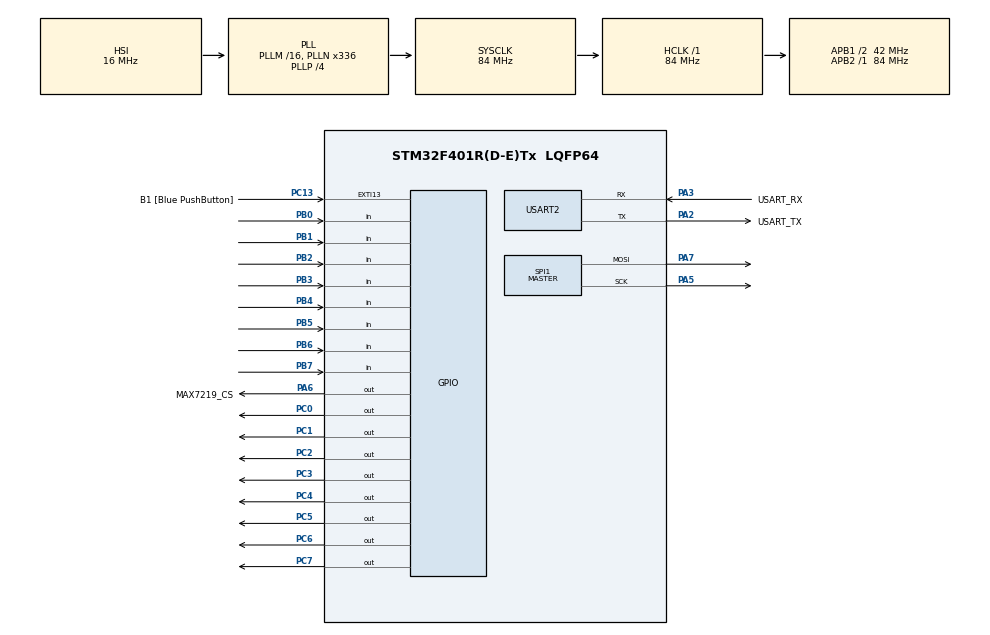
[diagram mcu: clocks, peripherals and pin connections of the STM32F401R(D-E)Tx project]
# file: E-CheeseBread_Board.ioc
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Mcu.Family=STM32F4
Mcu.Name=STM32F401R(D-E)Tx
Mcu.Package=LQFP64
NVIC.PriorityGroup=NVIC_PRIORITYGROUP_4
NVIC.USART2_IRQn=true\:0\:0\:false\:false\:true\:true\:true\:true
PA13.GPIO_Label=TMS
PA13.Signal=SYS_JTMS-SWDIO
PA14.GPIO_Label=TCK
PA14.Signal=SYS_JTCK-SWCLK
PA2.GPIO_Label=USART_TX
PA2.GPIO_Mode=GPIO_MODE_AF_PP
PA2.GPIO_PuPd=GPIO_NOPULL
PA2.GPIO_Speed=GPIO_SPEED_FREQ_LOW
PA2.Mode=Asynchronous
PA2.Signal=USART2_TX
PA3.GPIO_Label=USART_RX
PA3.GPIO_Mode=GPIO_MODE_AF_PP
PA3.GPIO_PuPd=GPIO_NOPULL
PA3.GPIO_Speed=GPIO_SPEED_FREQ_LOW
PA3.Mode=Asynchronous
PA3.Signal=USART2_RX
PA5.Mode=TX_Only_Simplex_Unidirect_Master
PA5.Signal=SPI1_SCK
PA6.GPIO_Label=MAX7219_CS
PA6.GPIO_Speed=GPIO_SPEED_FREQ_LOW
PA6.PinState=GPIO_PIN_SET
PA6.Signal=GPIO_Output
PA7.Mode=TX_Only_Simplex_Unidirect_Master
PA7.Signal=SPI1_MOSI
PB0.GPIO_PuPd=GPIO_PULLUP
PB0.Signal=GPIO_Input
PB1.GPIO_PuPd=GPIO_PULLUP
PB1.Signal=GPIO_Input
PB2.GPIO_PuPd=GPIO_PULLUP
PB2.Signal=GPIO_Input
PB3.GPIO_PuPd=GPIO_PULLUP
PB3.Signal=GPIO_Input
PB4.GPIO_PuPd=GPIO_PULLUP
PB4.Signal=GPIO_Input
PB5.GPIO_PuPd=GPIO_PULLUP
PB5.Signal=GPIO_Input
PB6.GPIO_PuPd=GPIO_PULLUP
PB6.Signal=GPIO_Input
PB7.GPIO_PuPd=GPIO_PULLUP
PB7.Signal=GPIO_Input
PC0.PinState=GPIO_PIN_SET
PC0.Signal=GPIO_Output
PC1.PinState=GPIO_PIN_SET
PC1.Signal=GPIO_Output
PC13-ANTI_TAMP.GPIO_Label=B1 [Blue PushButton]
PC13-ANTI_TAMP.GPIO_ModeDefaultEXTI=GPIO_MODE_IT_FALLING
PC13-ANTI_TAMP.GPIO_PuPd=GPIO_NOPULL
PC13-ANTI_TAMP.Signal=GPXTI13
PC14-OSC32_IN.Mode=LSE-External-Oscillator
PC14-OSC32_IN.Signal=RCC_OSC32_IN
PC15-OSC32_OUT.Mode=LSE-External-Oscillator
PC15-OSC32_OUT.Signal=RCC_OSC32_OUT
PC2.PinState=GPIO_PIN_SET
PC2.Signal=GPIO_Output
PC3.PinState=GPIO_PIN_SET
PC3.Signal=GPIO_Output
PC4.PinState=GPIO_PIN_SET
PC4.Signal=GPIO_Output
PC5.PinState=GPIO_PIN_SET
PC5.Signal=GPIO_Output
PC6.PinState=GPIO_PIN_SET
PC6.Signal=GPIO_Output
PC7.PinState=GPIO_PIN_SET
PC7.Signal=GPIO_Output
PH0\ -\ OSC_IN.Mode=HSE-External-Clock-Source
PH0\ -\ OSC_IN.Signal=RCC_OSC_IN
PH1\ -\ OSC_OUT.Mode=HSE-External-Clock-Source
PH1\ -\ OSC_OUT.Signal=RCC_OSC_OUT
ProjectManager.HeapSize=0x200
ProjectManager.StackSize=0x400
ProjectManager.TargetToolchain=CMake
RCC.48MHZClocksFreq_Value=48000000
RCC.AHBFreq_Value=84000000
RCC.APB1CLKDivider=RCC_HCLK_DIV2
RCC.APB1Freq_Value=42000000
RCC.APB1TimFreq_Value=84000000
RCC.APB2Freq_Value=84000000
RCC.APB2TimFreq_Value=84000000
RCC.CortexFreq_Value=84000000
RCC.HCLKFreq_Value=84000000
RCC.HSE_VALUE=8000000
RCC.HSI_VALUE=16000000
RCC.PLLN=336
RCC.PLLP=RCC_PLLP_DIV4
RCC.PLLQ=7
RCC.SYSCLKFreq_VALUE=84000000
RCC.SYSCLKSource=RCC_SYSCLKSOURCE_PLLCLK
RCC.VCOOutputFreq_Value=336000000
SPI1.BaudRatePrescaler=SPI_BAUDRATEPRESCALER_16
SPI1.Direction=SPI_DIRECTION_2LINES
SPI1.Mode=SPI_MODE_MASTER
SPI1.VirtualType=VM_MASTER
USART2.VirtualMode=VM_ASYNC
board=NUCLEO-F401RE

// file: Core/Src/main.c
/* USER CODE BEGIN Header */
/**
  ******************************************************************************
  * @file           : main.c
  * @brief          : Main program body
  ******************************************************************************
  * @attention
  *
  * Copyright (c) 2026 STMicroelectronics.
  * All rights reserved.
  *
  * This software is licensed under terms that can be found in the LICENSE file
  * in the root directory of this software component.
  * If no LICENSE file comes with this software, it is provided AS-IS.
  *
  ******************************************************************************
  */
/* USER CODE END Header */
#include "main.h"
#include "LedMatrix.h"
#include "UartComm.h"
#include "GameMode.h"

SPI_HandleTypeDef hspi1;

UART_HandleTypeDef huart2;

void SystemClock_Config(void);
static void MX_GPIO_Init(void);
static void MX_SPI1_Init(void);
static void MX_USART2_UART_Init(void);

/* USER CODE BEGIN 0 */

// Scansiona la matrice di pulsanti (PC0..PC7 = Righe, PB0..PB7 = Colonne)
uint8_t scan_chessboard(uint8_t boardState[8]) {
    uint8_t anyPressed = 0;

    // Imposta tutte le righe (PC0..PC7) ad HIGH
    GPIOC->ODR |= 0xFF;

    for (uint8_t r = 0; r < 8; r++) {
        // Abbassa a LOW (0V) soltanto la riga corrente
        GPIOC->ODR &= ~(1 << r);

        // Breve ritardo hardware per la stabilizzazione del segnale
        for (volatile int delay = 0; delay < 10; delay++);

        // Leggi gli 8 bit della Porta B (PB0..PB7)
        uint8_t raw_colData = ~(GPIOB->IDR & 0xFF);
        uint8_t colData = 0;

        // Inversione colonne in lettura (se attiva)
        if (INVERT_COLS) {
            for (uint8_t c = 0; c < 8; c++) {
                if (raw_colData & (1 << c)) {
                    colData |= (1 << (7 - c));
                }
            }
        } else {
            colData = raw_colData;
        }

        // Inversione righe in salvataggio (se attiva)
        uint8_t target_row = INVERT_ROWS ? (7 - r) : r;
        boardState[target_row] = colData;

        if (colData != 0) {
            anyPressed = 1;
        }

        // Riporta SEMPRE la riga corrente ad HIGH prima di passare alla successiva
        GPIOC->ODR |= (1 << r);
    }

    return anyPressed;
}

/* USER CODE END 0 */

int main(void)
{

  /* MCU Configuration--------------------------------------------------------*/

  /* Reset of all peripherals, Initializes the Flash interface and the Systick. */
  HAL_Init();

  /* Configure the system clock */
  SystemClock_Config();

  /* Initialize all configured peripherals */
  MX_GPIO_Init();
  MX_SPI1_Init();
  MX_USART2_UART_Init();
  /* USER CODE BEGIN 2 */

  MAX7219_init();

  // Test iniziale dei LED
  MAX7219_setall(1);
  HAL_Delay(1000);
  MAX7219_setall(0);
  HAL_Delay(200);

  UART_Init(&huart2);

  // Avvia il Controller in modalità Umano vs Umano (o MODE_STUDY_PGN / MODE_VS_PC)
  GameController_Init(MODE_HUMAN_VS_HUMAN);

  uint8_t prev_phys_board[8] = {0};
  uint8_t curr_phys_board[8] = {0};

  /* USER CODE END 2 */

  /* Infinite loop */
  /* USER CODE BEGIN WHILE */
  while (1)
  {
  scan_chessboard(curr_phys_board);

      // Gestione di tutta la logica di gioco e comunicazione
      GameController_Process(curr_phys_board, prev_phys_board);

      for (uint8_t r = 0; r < 8; r++) {
          prev_phys_board[r] = curr_phys_board[r];
      }

      HAL_Delay(30);
    /* USER CODE END WHILE */

  }
}

void SystemClock_Config(void)
{
  RCC_OscInitTypeDef RCC_OscInitStruct = {0};
  RCC_ClkInitTypeDef RCC_ClkInitStruct = {0};

  /** Configure the main internal regulator output voltage
  */
  __HAL_RCC_PWR_CLK_ENABLE();
  __HAL_PWR_VOLTAGESCALING_CONFIG(PWR_REGULATOR_VOLTAGE_SCALE2);

  /** Initializes the RCC Oscillators according to the specified parameters
  * in the RCC_OscInitTypeDef structure.
  */
  RCC_OscInitStruct.OscillatorType = RCC_OSCILLATORTYPE_HSI;
  RCC_OscInitStruct.HSIState = RCC_HSI_ON;
  RCC_OscInitStruct.HSICalibrationValue = RCC_HSICALIBRATION_DEFAULT;
  RCC_OscInitStruct.PLL.PLLState = RCC_PLL_ON;
  RCC_OscInitStruct.PLL.PLLSource = RCC_PLLSOURCE_HSI;
  RCC_OscInitStruct.PLL.PLLM = 16;
  RCC_OscInitStruct.PLL.PLLN = 336;
  RCC_OscInitStruct.PLL.PLLP = RCC_PLLP_DIV4;
  RCC_OscInitStruct.PLL.PLLQ = 7;
  if (HAL_RCC_OscConfig(&RCC_OscInitStruct) != HAL_OK)
  {
    Error_Handler();
  }

  /** Initializes the CPU, AHB and APB buses clocks
  */
  RCC_ClkInitStruct.ClockType = RCC_CLOCKTYPE_HCLK|RCC_CLOCKTYPE_SYSCLK
                              |RCC_CLOCKTYPE_PCLK1|RCC_CLOCKTYPE_PCLK2;
  RCC_ClkInitStruct.SYSCLKSource = RCC_SYSCLKSOURCE_PLLCLK;
  RCC_ClkInitStruct.AHBCLKDivider = RCC_SYSCLK_DIV1;
  RCC_ClkInitStruct.APB1CLKDivider = RCC_HCLK_DIV2;
  RCC_ClkInitStruct.APB2CLKDivider = RCC_HCLK_DIV1;

  if (HAL_RCC_ClockConfig(&RCC_ClkInitStruct, FLASH_LATENCY_2) != HAL_OK)
  {
    Error_Handler();
  }
}

static void MX_SPI1_Init(void)
{

  /* SPI1 parameter configuration*/
  hspi1.Instance = SPI1;
  hspi1.Init.Mode = SPI_MODE_MASTER;
  hspi1.Init.Direction = SPI_DIRECTION_2LINES;
  hspi1.Init.DataSize = SPI_DATASIZE_8BIT;
  hspi1.Init.CLKPolarity = SPI_POLARITY_LOW;
  hspi1.Init.CLKPhase = SPI_PHASE_1EDGE;
  hspi1.Init.NSS = SPI_NSS_SOFT;
  hspi1.Init.BaudRatePrescaler = SPI_BAUDRATEPRESCALER_16;
  hspi1.Init.FirstBit = SPI_FIRSTBIT_MSB;
  hspi1.Init.TIMode = SPI_TIMODE_DISABLE;
  hspi1.Init.CRCCalculation = SPI_CRCCALCULATION_DISABLE;
  hspi1.Init.CRCPolynomial = 10;
  if (HAL_SPI_Init(&hspi1) != HAL_OK)
  {
    Error_Handler();
  }

}

static void MX_USART2_UART_Init(void)
{

  huart2.Instance = USART2;
  huart2.Init.BaudRate = 115200;
  huart2.Init.WordLength = UART_WORDLENGTH_8B;
  huart2.Init.StopBits = UART_STOPBITS_1;
  huart2.Init.Parity = UART_PARITY_NONE;
  huart2.Init.Mode = UART_MODE_TX_RX;
  huart2.Init.HwFlowCtl = UART_HWCONTROL_NONE;
  huart2.Init.OverSampling = UART_OVERSAMPLING_16;
  if (HAL_UART_Init(&huart2) != HAL_OK)
  {
    Error_Handler();
  }

}

static void MX_GPIO_Init(void)
{
  GPIO_InitTypeDef GPIO_InitStruct = {0};

  /* GPIO Ports Clock Enable */
  __HAL_RCC_GPIOC_CLK_ENABLE();
  __HAL_RCC_GPIOH_CLK_ENABLE();
  __HAL_RCC_GPIOA_CLK_ENABLE();
  __HAL_RCC_GPIOB_CLK_ENABLE();

  /*Configure GPIO pin Output Level */
  HAL_GPIO_WritePin(GPIOC, GPIO_PIN_0|GPIO_PIN_1|GPIO_PIN_2|GPIO_PIN_3
                          |GPIO_PIN_4|GPIO_PIN_5|GPIO_PIN_6|GPIO_PIN_7, GPIO_PIN_SET);

  /*Configure GPIO pin Output Level */
  HAL_GPIO_WritePin(MAX7219_CS_GPIO_Port, MAX7219_CS_Pin, GPIO_PIN_SET);

  /*Configure GPIO pin : B1_Pin */
  GPIO_InitStruct.Pin = B1_Pin;
  GPIO_InitStruct.Mode = GPIO_MODE_IT_FALLING;
  GPIO_InitStruct.Pull = GPIO_NOPULL;
  HAL_GPIO_Init(B1_GPIO_Port, &GPIO_InitStruct);

  /*Configure GPIO pins : PC0 PC1 PC2 PC3
                           PC4 PC5 PC6 PC7 */
  GPIO_InitStruct.Pin = GPIO_PIN_0|GPIO_PIN_1|GPIO_PIN_2|GPIO_PIN_3
                          |GPIO_PIN_4|GPIO_PIN_5|GPIO_PIN_6|GPIO_PIN_7;
  GPIO_InitStruct.Mode = GPIO_MODE_OUTPUT_PP;
  GPIO_InitStruct.Pull = GPIO_NOPULL;
  GPIO_InitStruct.Speed = GPIO_SPEED_FREQ_LOW;
  HAL_GPIO_Init(GPIOC, &GPIO_InitStruct);

  /*Configure GPIO pin : MAX7219_CS_Pin */
  GPIO_InitStruct.Pin = MAX7219_CS_Pin;
  GPIO_InitStruct.Mode = GPIO_MODE_OUTPUT_PP;
  GPIO_InitStruct.Pull = GPIO_NOPULL;
  GPIO_InitStruct.Speed = GPIO_SPEED_FREQ_LOW;
  HAL_GPIO_Init(MAX7219_CS_GPIO_Port, &GPIO_InitStruct);

  /*Configure GPIO pins : PB0 PB1 PB2 PB3
                           PB4 PB5 PB6 PB7 */
  GPIO_InitStruct.Pin = GPIO_PIN_0|GPIO_PIN_1|GPIO_PIN_2|GPIO_PIN_3
                          |GPIO_PIN_4|GPIO_PIN_5|GPIO_PIN_6|GPIO_PIN_7;
  GPIO_InitStruct.Mode = GPIO_MODE_INPUT;
  GPIO_InitStruct.Pull = GPIO_PULLUP;
  HAL_GPIO_Init(GPIOB, &GPIO_InitStruct);

}

void Error_Handler(void)
{
  __disable_irq();
  while (1)
  {
  }
}
